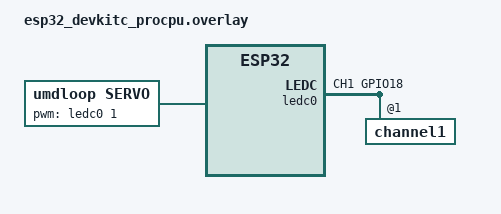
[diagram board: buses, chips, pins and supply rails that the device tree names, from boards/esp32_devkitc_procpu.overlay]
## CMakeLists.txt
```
cmake_minimum_required(VERSION 3.20.0)
get_filename_component(LOOP_E2_DIR ${CMAKE_CURRENT_SOURCE_DIR}/.. ABSOLUTE)
list(APPEND ZEPHYR_EXTRA_MODULES ${LOOP_E2_DIR})
find_package(Zephyr REQUIRED HINTS $ENV{ZEPHYR_BASE})
project(loop_app)
target_sources(app PRIVATE src/main.c)
```

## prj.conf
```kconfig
CONFIG_ESP32_USE_UNSUPPORTED_REVISION=y
CONFIG_CONSOLE_SUBSYS=y
CONFIG_CONSOLE_GETCHAR=y
```

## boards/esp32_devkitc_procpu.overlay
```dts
#include <zephyr/dt-bindings/pwm/pwm.h>

/ {
	aliases {
		servo0 = &servo;
	};

	servo: servo {
		compatible = "umdloop,servo";
		pwms = <&ledc0 1 PWM_MSEC(20) PWM_POLARITY_NORMAL>;
		min-pulse-us = <544>;
		max-pulse-us = <2400>;
	};
};

&pinctrl {
	ledc0_default: ledc0_default {
		group1 {
			pinmux = <LEDC_CH1_GPIO18>;
			output-enable;
		};
	};
};

&ledc0 {
	pinctrl-0 = <&ledc0_default>;
	pinctrl-names = "default";
	status = "okay";
	#address-cells = <1>;
	#size-cells = <0>;

	channel1@1 {
		reg = <0x1>;
		timer = <1>;
	};
};
```

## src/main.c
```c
#include <zephyr/kernel.h>
#include <zephyr/device.h>
#include <zephyr/console/console.h>
#include <stdlib.h>
#include <loop/servo.h>

/* Based on teammate's System Two app; hardware access moved into the servo driver */
static const struct device *const servo = DEVICE_DT_GET(DT_ALIAS(servo0));

int main(void)
{
	if (!device_is_ready(servo)) {
		printk("servo not ready\n");
		return 0;
	}

	console_init();
	printk("Enter an angle from 0 to 180:\n");

	while (1) {
		char input[4];
		int index = 0;
		int angle;
		int ret;

		/* Read one line, keeping only digits */
		while (1) {
			int c = console_getchar();

			if (c == '\r' || c == '\n') {
				break;
			}
			if (c >= '0' && c <= '9' && index < 3) {
				input[index++] = (char)c;
			}
		}

		/* Blank line (e.g. the \n after \r): ignore instead of moving to 0 */
		if (index == 0) {
			continue;
		}

		input[index] = '\0';
		angle = atoi(input);

		if (angle > 180) {
			printk("Please enter a value from 0 to 180.\n");
			continue;
		}

		ret = servo_set_angle(servo, (uint8_t)angle);
		if (ret < 0) {
			printk("servo error: %d\n", ret);
		} else {
			printk("Servo moved to: %d degrees\n", angle);
		}
	}

	return 0;
}
```
